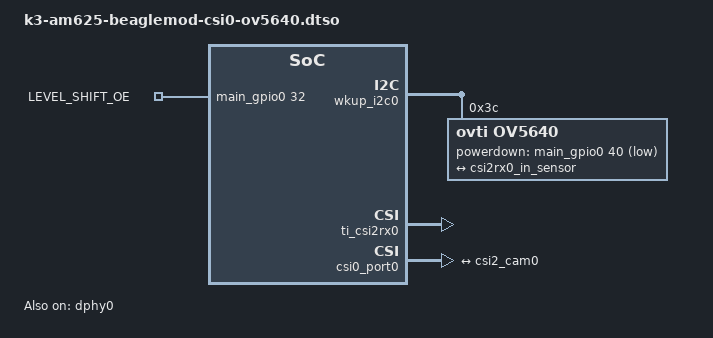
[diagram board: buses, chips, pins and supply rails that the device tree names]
// SPDX-License-Identifier: GPL-2.0
/*
 * Copyright (C) 2022 Texas Instruments Incorporated - https://www.ti.com/
 */

/dts-v1/;
/plugin/;

#include <dt-bindings/gpio/gpio.h>
#include "k3-pinctrl.h"

/*
 * Helper to show loaded overlays under: /proc/device-tree/chosen/overlays/
 */
&{/chosen} {
	overlays {
		k3-am625-beaglemod-csi0-ov5640.kernel = __TIMESTAMP__;
	};
};

/ {
	fragment@101 {
		target-path = "/";

		__overlay__ {
			clk_ov5640_fixed: ov5640-xclk {
				compatible = "fixed-clock";
				#clock-cells = <0>;
				clock-frequency = <12000000>;
			};
		};
	};

	fragment@102 {
		target-path = "/";

		 __overlay__ {
			level_shift_oe: level-shift-oe {
				compatible = "gpio-leds";
				pinctrl-names = "default";
				pinctrl-0 = <&level_shift_oe_pins_default>;

				oe-pin {
					label = "LEVEL_SHIFT_OE";
					gpios = <&main_gpio0 32 GPIO_ACTIVE_HIGH>;
					default-state = "on";
				};
			};
		};
	};
};

&main_pmx0 {
	cam_pd_pins_default: cam-pd-pins-default {
		pinctrl-single,pins = <
			AM62X_IOPAD(0x00a4, PIN_OUTPUT, 7) /* (M22) GPMC0_DIR.GPIO0_40 */
		>;
	};

	level_shift_oe_pins_default: level-shift-oe-pins-default {
		pinctrl-single,pins = <
			AM62X_IOPAD(0x0084, PIN_OUTPUT, 7) /* (L23) GPMC0_ADVn_ALE.GPIO0_32 */
		>;
	};
};

&wkup_i2c0 {
	status = "okay";
	#address-cells = <1>;
	#size-cells = <0>;

	ov5640: camera@3c {
		pinctrl-names = "default";
		pinctrl-0 = <&cam_pd_pins_default>;
		compatible = "ovti,ov5640";
		reg = <0x3c>;

		clocks = <&clk_ov5640_fixed>;
		clock-names = "xclk";
		/* rPI csi2 modules hook reset and power signals together */
		powerdown-gpios = <&main_gpio0 40 GPIO_ACTIVE_LOW>;

		port {
			csi2_cam0: endpoint {
				remote-endpoint = <&csi2rx0_in_sensor>;
				clock-lanes = <0>;
				data-lanes = <1 2>;
			};
		};
	};
};

&dphy0 {
	status = "okay";
};

&ti_csi2rx0 {
	status = "okay";
};

&csi0_port0 {
	status = "okay";

	csi2rx0_in_sensor: endpoint {
		remote-endpoint = <&csi2_cam0>;
		bus-type = <4>; /* CSI2 DPHY. */
		clock-lanes = <0>;
		data-lanes = <1 2>;
	};
};
